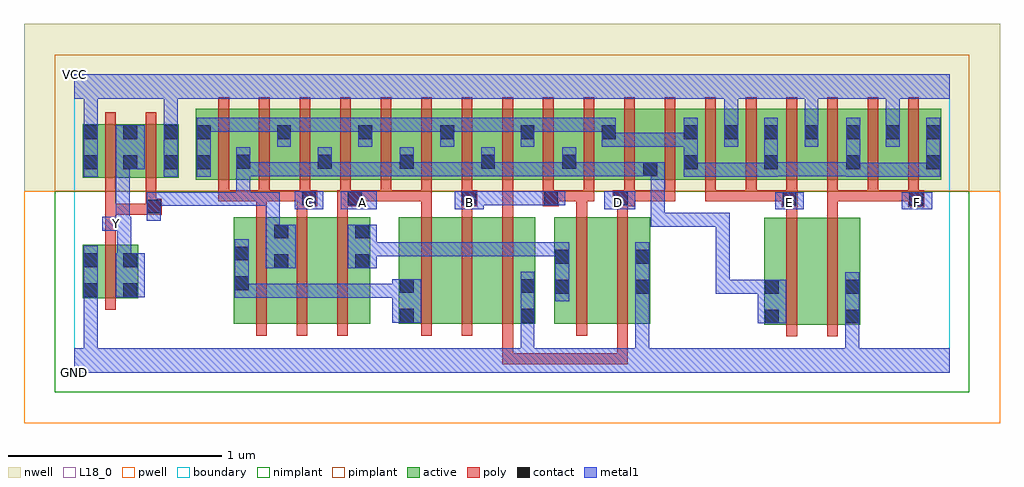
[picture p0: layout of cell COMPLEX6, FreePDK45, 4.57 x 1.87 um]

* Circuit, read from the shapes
.subckt COMPLEX6 A B C D E F GND VCC Y
M1 Y n1 GND VSUBS nfet w=0.25u l=0.05u
M2 n1 C n2 VSUBS nfet w=0.5u l=0.05u
M3 n3 C n1 VSUBS nfet w=0.5u l=0.05u
M4 n4 A n3 VSUBS nfet w=0.5u l=0.05u
M5 n5 A n2 VSUBS nfet w=0.5u l=0.05u
M6 n6 B n5 VSUBS nfet w=0.5u l=0.05u
M7 GND D n6 VSUBS nfet w=0.5u l=0.05u
M8 n7 B n4 VSUBS nfet w=0.5u l=0.05u
M9 GND D n7 VSUBS nfet w=0.5u l=0.05u
M10 n8 E n1 VSUBS nfet w=0.5u l=0.05u
M11 GND F n8 VSUBS nfet w=0.5u l=0.05u
M12 Y n1 VCC n9 pfet w=0.25u l=0.05u m=2
M13 n1 C n10 n9 pfet w=0.332u l=0.05u m=3
M14 n10 A n1 n9 pfet w=0.332u l=0.05u m=3
M15 n1 B n10 n9 pfet w=0.332u l=0.05u m=3
M16 n10 D n1 n9 pfet w=0.332u l=0.05u m=3
M17 VCC E n10 n9 pfet w=0.332u l=0.05u m=3
M18 n10 F VCC n9 pfet w=0.332u l=0.05u m=3
.ends

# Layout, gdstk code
import gdstk
lib = gdstk.Library(unit=1e-6, precision=1e-09)
def R(c, l, rs):  # rectangles x0, y0, x1, y1
    for r in rs: c.add(gdstk.rectangle(r[:2], r[2:], *l))
def A(c, l, x, y, w, h, nx, ny, dx, dy):  # array of equal rectangles
    R(c, l, [(x+i*dx, y+j*dy, x+i*dx+w, y+j*dy+h) for i in range(nx) for j in range(ny)])
active = (1, 0)
pwell = (2, 0)
nwell = (3, 0)
nimplant = (4, 0)
pimplant = (5, 0)
poly = (9, 0)
contact = (10, 0)
metal1 = (11, 0)
L18_0 = (18, 0)
boundary = (235, 0)

complex6 = lib.new_cell('COMPLEX6')
A(complex6, active, 0.755, 0.905, 0.265, 0.332, 3, 1, 0.19, 0)
A(complex6, active, 1.52, 0.905, 0.075, 0.165, 4, 1, 0.38, 0)
R(complex6, active, [(3.23,0.227,3.305,0.727), (3.23,0.227,3.455,0.727), (3.455,0.227,3.68,0.727), (3.605,0.227,3.68,0.727), (0.747,0.23,1.007,0.73), (0.932,0.23,1.162,0.73), (1.162,0.23,1.387,0.73), (1.52,0.23,1.595,0.73), (1.52,0.23,1.745,0.73), (1.745,0.23,1.935,0.73), (1.935,0.23,2.16,0.73), (2.085,0.23,2.16,0.637), (2.247,0.23,2.472,0.73), (2.472,0.23,2.697,0.73), (2.622,0.23,2.697,0.73), (0.747,0.295,0.822,0.73), (0.932,0.295,1.007,0.73), (1.312,0.295,1.387,0.73), (2.247,0.295,2.322,0.73), (0.04,0.35,0.115,0.6), (0.04,0.35,0.3,0.6), (0.225,0.35,0.3,0.6), (0.57,0.905,0.645,1.2), (0.57,0.905,0.83,1.237), (0.755,0.905,0.83,1.07), (0.945,0.905,1.02,1.2), (1.135,0.905,1.21,1.07), (1.325,0.905,1.4,1.2), (1.325,0.905,1.595,1.237), (1.52,0.905,1.785,1.237), (1.71,0.905,1.785,1.2), (1.71,0.905,1.975,1.237), (1.9,0.905,2.16,1.237), (2.085,0.905,2.16,1.2), (2.085,0.905,2.355,1.237), (2.28,0.905,2.54,1.237), (2.465,0.905,2.735,1.237), (2.66,0.905,2.925,1.237), (2.85,0.905,2.925,1.2), (2.85,0.905,3.115,1.237), (3.04,0.905,3.115,1.237), (3.04,0.905,3.3,1.237), (3.225,0.905,3.3,1.2), (3.225,0.905,3.49,1.237), (3.415,0.905,3.49,1.237), (3.415,0.905,3.685,1.237), (3.61,0.905,3.685,1.2), (3.61,0.905,3.87,1.237), (3.795,0.905,4.06,1.237), (3.795,0.905,3.87,1.237), (3.985,0.905,4.06,1.2), (0.04,0.915,0.115,1.165), (0.04,0.915,0.3,1.165), (0.225,0.915,0.3,1.165), (0.225,0.915,0.49,1.165), (0.415,0.915,0.49,1.165), (2.465,0.947,2.54,1.2)])
R(complex6, pwell, [(-0.235,-0.235,4.335,0.85)])
R(complex6, nwell, [(-0.235,0.85,4.335,1.635)])
R(complex6, nimplant, [(-0.09,-0.09,4.19,0.85)])
R(complex6, pimplant, [(-0.09,0.85,4.19,1.49)])
A(complex6, poly, 0.852, 0.175, 0.05, 0.61, 3, 1, 0.19, 0)
A(complex6, poly, 1.625, 0.175, 0.05, 0.61, 3, 1, 0.19, 0)
A(complex6, poly, 0.675, 0.805, 0.05, 0.095, 18, 1, 0.19, 0)
A(complex6, poly, 3.525, 0.805, 0.05, 0.05, 3, 1, 0.19, 0)
A(complex6, poly, 0.675, 0.85, 0.05, 0.442, 18, 1, 0.19, 0)
R(complex6, poly, [(2.005,0.042,2.055,0.092), (2.005,0.042,2.055,0.092), (2.005,0.042,2.055,0.092), (2.005,0.042,2.055,0.225), (2.005,0.042,2.27,0.092), (2.22,0.042,2.27,0.092), (2.22,0.042,2.27,0.092), (2.22,0.042,2.27,0.092), (2.22,0.042,2.402,0.092), (2.352,0.042,2.402,0.092), (2.352,0.042,2.402,0.092), (2.352,0.042,2.402,0.092), (2.352,0.042,2.592,0.092), (2.542,0.042,2.592,0.092), (2.542,0.042,2.592,0.225), (3.335,0.172,3.385,0.782), (3.525,0.172,3.575,0.782), (2.352,0.175,2.402,0.785), (2.542,0.175,2.592,0.785), (0.145,0.295,0.195,0.655), (0.145,0.605,0.195,0.792), (3.335,0.732,3.385,0.827), (3.525,0.732,3.575,0.855), (0.852,0.735,0.902,0.855), (1.042,0.735,1.092,0.83), (1.232,0.735,1.282,0.83), (1.625,0.735,1.675,0.855), (1.815,0.735,1.865,0.83), (2.005,0.735,2.055,0.855), (2.352,0.735,2.402,0.855), (2.542,0.735,2.592,0.83), (0.145,0.742,0.195,0.792), (0.145,0.742,0.195,0.792), (0.145,0.742,0.195,0.792), (0.145,0.742,0.385,0.792), (0.145,0.742,0.195,0.91), (0.335,0.742,0.41,0.817), (0.335,0.767,0.385,0.91), (3.312,0.777,3.387,0.855), (3.905,0.777,3.98,0.855), (1.042,0.78,1.137,0.855), (1.232,0.78,1.352,0.855), (1.812,0.78,1.887,0.855), (2.195,0.78,2.27,0.855), (2.522,0.78,2.625,0.855), (0.675,0.805,0.725,0.855), (0.675,0.805,0.902,0.855), (0.852,0.805,0.902,0.855), (0.852,0.805,0.902,0.855), (0.852,0.805,0.915,0.855), (0.865,0.805,1.092,0.855), (1.042,0.805,1.092,0.855), (1.042,0.805,1.092,0.855), (1.302,0.805,1.485,0.855), (1.435,0.805,1.485,0.855), (1.435,0.805,1.485,0.855), (1.435,0.805,1.485,0.855), (1.435,0.805,1.675,0.855), (1.625,0.805,1.675,0.855), (1.625,0.805,1.675,0.855), (1.625,0.805,1.675,0.855), (2.005,0.805,2.055,0.855), (2.22,0.805,2.27,0.855), (2.22,0.805,2.27,0.855), (2.22,0.805,2.402,0.855), (2.352,0.805,2.435,0.855), (2.575,0.805,2.815,0.855), (2.765,0.805,2.815,0.855), (2.765,0.805,2.815,0.855), (2.765,0.805,2.815,0.855), (2.955,0.805,3.005,0.855), (2.955,0.805,3.005,0.855), (2.955,0.805,3.005,0.855), (2.955,0.805,3.195,0.855), (3.145,0.805,3.195,0.855), (3.145,0.805,3.195,0.855), (3.145,0.805,3.195,0.855), (3.145,0.805,3.362,0.855), (3.525,0.805,3.575,0.855), (3.525,0.805,3.575,0.855), (3.525,0.805,3.765,0.855), (3.715,0.805,3.955,0.855), (3.905,0.805,3.955,0.855), (0.145,0.86,0.195,1.22), (0.335,0.86,0.385,1.22)])
A(complex6, contact, 1.525, 0.957, 0.065, 0.065, 3, 1, 0.38, 0)
R(complex6, contact, [(3.235,0.232,3.3,0.297), (3.61,0.232,3.675,0.297), (1.525,0.235,1.59,0.3), (2.09,0.235,2.155,0.3), (0.045,0.355,0.11,0.42), (0.23,0.355,0.295,0.42), (2.252,0.372,2.317,0.437), (2.627,0.372,2.692,0.437), (3.235,0.372,3.3,0.437), (3.61,0.372,3.675,0.437), (1.525,0.375,1.59,0.44), (2.09,0.375,2.155,0.44), (0.752,0.387,0.817,0.452), (0.937,0.49,1.002,0.555), (1.317,0.49,1.382,0.555), (0.045,0.495,0.11,0.56), (0.23,0.495,0.295,0.56), (2.252,0.512,2.317,0.577), (2.627,0.512,2.692,0.577), (0.752,0.527,0.817,0.592), (0.937,0.63,1.002,0.695), (1.317,0.63,1.382,0.695), (0.34,0.747,0.405,0.812), (3.317,0.782,3.382,0.847), (3.91,0.782,3.975,0.847), (1.067,0.785,1.132,0.85), (1.282,0.785,1.347,0.85), (1.817,0.785,1.882,0.85), (2.2,0.785,2.265,0.85), (2.527,0.785,2.592,0.85), (2.665,0.922,2.73,0.987), (0.045,0.955,0.11,1.02), (0.23,0.955,0.295,1.02), (0.42,0.955,0.485,1.02), (0.575,0.955,0.64,1.02), (2.855,0.955,2.92,1.02), (3.23,0.955,3.295,1.02), (3.615,0.955,3.68,1.02), (3.99,0.955,4.055,1.02), (0.76,0.957,0.825,1.022), (1.14,0.957,1.205,1.022), (0.045,1.095,0.11,1.16), (0.23,1.095,0.295,1.16), (0.42,1.095,0.485,1.16), (0.575,1.095,0.64,1.16), (0.95,1.095,1.015,1.16), (1.33,1.095,1.395,1.16), (1.715,1.095,1.78,1.16), (2.09,1.095,2.155,1.16), (2.47,1.095,2.535,1.16), (2.855,1.095,2.92,1.16), (3.045,1.095,3.11,1.16), (3.23,1.095,3.295,1.16), (3.42,1.095,3.485,1.16), (3.615,1.095,3.68,1.16), (3.8,1.095,3.865,1.16), (3.99,1.095,4.055,1.16)])
A(complex6, metal1, 1.525, 0.922, 0.065, 0.135, 3, 1, 0.38, 0)
R(complex6, metal1, [(0,0,4.1,0.115), (0.045,0.05,0.11,0.115), (0.045,0.05,0.11,0.115), (0.045,0.05,0.11,0.115), (0.045,0.05,0.11,0.115), (0.045,0.05,0.11,0.115), (0.045,0.05,0.11,0.115), (0.045,0.05,0.11,0.115), (0.045,0.05,0.11,0.115), (0.045,0.05,0.11,0.385), (2.09,0.05,2.155,0.115), (2.09,0.05,2.155,0.115), (2.09,0.05,2.155,0.265), (2.627,0.05,2.692,0.115), (2.627,0.05,2.692,0.115), (2.627,0.05,2.692,0.402), (3.61,0.05,3.675,0.115), (3.61,0.05,3.675,0.115), (3.61,0.05,3.675,0.262), (3.61,0.197,3.675,0.262), (3.61,0.197,3.675,0.262), (3.61,0.197,3.675,0.472), (2.09,0.2,2.155,0.265), (2.09,0.2,2.155,0.265), (2.09,0.2,2.155,0.475), (3.2,0.232,3.335,0.437), (1.49,0.235,1.625,0.44), (0.045,0.32,0.11,0.595), (2.252,0.337,2.317,0.612), (2.627,0.337,2.692,0.402), (2.627,0.337,2.692,0.402), (2.627,0.337,2.692,0.612), (0.752,0.352,0.817,0.417), (0.752,0.352,0.817,0.417), (0.752,0.352,0.817,0.627), (0.752,0.352,1.037,0.417), (0.972,0.352,1.037,0.417), (0.972,0.352,1.037,0.417), (0.972,0.352,1.037,0.417), (0.972,0.352,1.205,0.417), (1.14,0.352,1.205,0.417), (1.14,0.352,1.205,0.417), (1.14,0.352,1.205,0.417), (1.14,0.352,1.342,0.417), (1.277,0.352,1.342,0.417), (1.277,0.352,1.342,0.417), (1.277,0.352,1.342,0.417), (1.277,0.352,1.555,0.417), (0.195,0.355,0.33,0.56), (3.005,0.372,3.07,0.437), (3.005,0.372,3.21,0.437), (3.005,0.372,3.07,0.75), (3.145,0.372,3.21,0.437), (3.145,0.372,3.265,0.437), (0.897,0.49,1.037,0.695), (1.282,0.49,1.417,0.695), (0.202,0.495,0.267,0.732), (1.352,0.547,1.417,0.612), (1.352,0.547,1.417,0.612), (1.352,0.547,1.555,0.612), (1.49,0.547,1.555,0.612), (1.49,0.547,1.555,0.612), (1.49,0.547,1.555,0.612), (1.49,0.547,1.727,0.612), (1.662,0.547,1.727,0.612), (1.662,0.547,1.727,0.612), (1.662,0.547,1.727,0.612), (1.662,0.547,1.97,0.612), (1.905,0.547,1.97,0.612), (1.905,0.547,2.055,0.612), (1.99,0.547,2.055,0.612), (1.99,0.547,2.18,0.612), (2.115,0.547,2.18,0.612), (2.115,0.547,2.212,0.612), (2.147,0.547,2.212,0.612), (2.147,0.547,2.317,0.612), (0.897,0.63,0.962,0.847), (0.132,0.667,0.267,0.732), (0.195,0.667,0.26,1.02), (2.7,0.685,2.765,0.75), (2.7,0.685,2.902,0.75), (2.7,0.685,2.765,0.987), (2.837,0.685,2.902,0.75), (2.837,0.685,2.902,0.75), (2.837,0.685,2.902,0.75), (2.837,0.685,3.07,0.75), (3.005,0.685,3.07,0.75), (3.005,0.685,3.07,0.75), (3.005,0.685,3.07,0.75), (0.34,0.712,0.405,0.847), (1.032,0.767,1.167,0.85), (1.247,0.767,1.417,0.85), (1.782,0.767,1.917,0.85), (2.482,0.767,2.627,0.85), (3.282,0.767,3.417,0.847), (3.875,0.767,4.017,0.847), (0.34,0.782,0.405,0.847), (0.34,0.782,0.405,0.847), (0.34,0.782,0.622,0.847), (0.557,0.782,0.622,0.847), (0.557,0.782,0.622,0.847), (0.557,0.782,0.622,0.847), (0.557,0.782,0.825,0.847), (0.76,0.782,0.825,0.847), (0.76,0.782,0.825,0.847), (0.76,0.782,0.825,0.847), (0.76,0.782,0.962,0.847), (0.76,0.782,0.825,0.987), (0.897,0.782,0.962,0.847), (1.852,0.785,1.917,0.85), (1.852,0.785,1.917,0.85), (1.852,0.785,2.075,0.85), (2.01,0.785,2.075,0.85), (2.01,0.785,2.107,0.85), (2.042,0.785,2.107,0.85), (2.042,0.785,2.23,0.85), (2.165,0.785,2.3,0.85), (0.045,0.92,0.11,1.195), (0.42,0.92,0.485,1.195), (0.575,0.92,0.64,1.195), (2.855,0.92,2.92,0.985), (2.855,0.92,2.92,0.985), (2.855,0.92,2.92,1.195), (2.855,0.92,3.072,0.985), (3.007,0.92,3.072,0.985), (3.007,0.92,3.072,0.985), (3.007,0.92,3.072,0.985), (3.007,0.92,3.21,0.985), (3.145,0.92,3.21,0.985), (3.145,0.92,3.295,0.985), (3.23,0.92,3.295,1.195), (3.615,0.92,3.68,0.985), (3.615,0.92,3.68,0.985), (3.615,0.92,3.68,1.195), (3.615,0.92,3.817,0.985), (3.752,0.92,3.817,0.985), (3.752,0.92,4.055,0.985), (3.99,0.92,4.055,0.985), (3.99,0.92,4.055,0.985), (3.99,0.92,4.055,1.195), (0.76,0.922,0.825,0.987), (0.76,0.922,0.825,0.987), (0.76,0.922,0.825,1.057), (0.76,0.922,1.037,0.987), (0.972,0.922,1.037,0.987), (0.972,0.922,1.037,0.987), (0.972,0.922,1.037,0.987), (0.972,0.922,1.205,0.987), (1.14,0.922,1.205,0.987), (1.14,0.922,1.205,0.987), (1.14,0.922,1.205,1.057), (1.14,0.922,1.417,0.987), (1.352,0.922,1.417,0.987), (1.352,0.922,1.417,0.987), (1.352,0.922,1.417,0.987), (1.352,0.922,1.59,0.987), (1.525,0.922,1.59,0.987), (1.525,0.922,1.59,0.987), (1.525,0.922,1.747,0.987), (1.682,0.922,1.747,0.987), (1.682,0.922,1.747,0.987), (1.682,0.922,1.747,0.987), (1.682,0.922,1.97,0.987), (1.905,0.922,2.055,0.987), (1.99,0.922,2.055,0.987), (1.99,0.922,2.18,0.987), (2.115,0.922,2.18,0.987), (2.115,0.922,2.212,0.987), (2.147,0.922,2.212,0.987), (2.147,0.922,2.35,0.987), (2.285,0.922,2.35,0.987), (2.285,0.922,2.35,0.987), (2.285,0.922,2.487,0.987), (2.422,0.922,2.487,0.987), (2.422,0.922,2.695,0.987), (2.63,0.922,2.695,0.987), (2.63,0.922,2.695,0.987), (2.63,0.922,2.765,0.987), (3.23,0.922,3.347,0.987), (3.282,0.922,3.347,0.987), (3.282,0.922,3.537,0.987), (3.472,0.922,3.537,0.987), (3.472,0.922,3.537,0.987), (3.472,0.922,3.537,0.987), (3.472,0.922,3.68,0.987), (0.195,0.955,0.33,1.16), (0.95,1.06,1.015,1.195), (1.33,1.06,1.395,1.195), (1.715,1.06,1.78,1.195), (2.09,1.06,2.155,1.195), (2.47,1.06,2.535,1.195), (2.47,1.06,2.765,1.125), (2.7,1.06,2.765,1.125), (2.7,1.06,2.765,1.125), (2.7,1.06,2.765,1.125), (2.7,1.06,2.92,1.125), (2.855,1.06,2.92,1.125), (2.855,1.06,2.92,1.125), (3.045,1.06,3.11,1.195), (3.42,1.06,3.485,1.195), (3.8,1.06,3.865,1.195), (0.045,1.13,0.11,1.195), (0.045,1.13,0.11,1.195), (0.045,1.13,0.11,1.35), (0.42,1.13,0.485,1.195), (0.42,1.13,0.485,1.195), (0.42,1.13,0.485,1.35), (0.575,1.13,0.64,1.195), (0.575,1.13,0.64,1.195), (0.575,1.13,0.777,1.195), (0.712,1.13,0.777,1.195), (0.712,1.13,0.777,1.195), (0.712,1.13,0.777,1.195), (0.712,1.13,1.015,1.195), (0.95,1.13,1.015,1.195), (0.95,1.13,1.015,1.195), (0.95,1.13,1.175,1.195), (1.11,1.13,1.175,1.195), (1.11,1.13,1.175,1.195), (1.11,1.13,1.175,1.195), (1.11,1.13,1.395,1.195), (1.33,1.13,1.395,1.195), (1.33,1.13,1.395,1.195), (1.33,1.13,1.555,1.195), (1.49,1.13,1.555,1.195), (1.49,1.13,1.555,1.195), (1.49,1.13,1.555,1.195), (1.49,1.13,1.78,1.195), (1.715,1.13,1.78,1.195), (1.715,1.13,1.78,1.195), (1.715,1.13,1.917,1.195), (1.852,1.13,1.917,1.195), (1.852,1.13,2.055,1.195), (1.99,1.13,2.055,1.195), (1.99,1.13,2.155,1.195), (2.09,1.13,2.212,1.195), (2.147,1.13,2.212,1.195), (2.147,1.13,2.35,1.195), (2.285,1.13,2.35,1.195), (2.285,1.13,2.35,1.195), (2.285,1.13,2.35,1.195), (2.285,1.13,2.535,1.195), (3.045,1.13,3.11,1.35), (3.42,1.13,3.485,1.35), (3.8,1.13,3.865,1.35), (0,1.285,4.1,1.4)])
R(complex6, L18_0, [(0,0,4.1,0.115), (0.045,0.05,0.11,0.115), (0.045,0.05,0.11,0.115), (0.045,0.05,0.11,0.115), (0.045,0.05,0.11,0.115), (0.045,0.05,0.11,0.115), (0.045,0.05,0.11,0.115), (0.045,0.05,0.11,0.115), (0.045,0.05,0.11,0.115), (0.045,0.05,0.11,0.385), (2.09,0.05,2.155,0.115), (2.09,0.05,2.155,0.115), (2.09,0.05,2.155,0.265), (2.627,0.05,2.692,0.115), (2.627,0.05,2.692,0.115), (2.627,0.05,2.692,0.402), (3.61,0.05,3.675,0.115), (3.61,0.05,3.675,0.115), (3.61,0.05,3.675,0.262), (3.61,0.197,3.675,0.262), (3.61,0.197,3.675,0.262), (3.61,0.197,3.675,0.472), (2.09,0.2,2.155,0.265), (2.09,0.2,2.155,0.265), (2.09,0.2,2.155,0.475), (0.045,0.32,0.11,0.595), (2.627,0.337,2.692,0.402), (2.627,0.337,2.692,0.402), (2.627,0.337,2.692,0.612), (0.195,0.355,0.33,0.56), (0.202,0.495,0.267,0.732), (0.132,0.667,0.267,0.732), (0.167,0.667,0.232,0.732), (0.195,0.667,0.26,1.02), (1.032,0.767,1.167,0.85), (1.067,0.767,1.132,0.832), (1.247,0.767,1.417,0.85), (1.317,0.767,1.382,0.832), (1.782,0.767,1.917,0.85), (1.817,0.767,1.882,0.832), (2.482,0.767,2.627,0.85), (2.517,0.767,2.582,0.832), (3.282,0.767,3.417,0.847), (3.317,0.767,3.382,0.832), (3.875,0.767,4.017,0.847), (3.917,0.767,3.982,0.832), (1.852,0.785,1.917,0.85), (1.852,0.785,1.917,0.85), (1.852,0.785,2.075,0.85), (2.01,0.785,2.075,0.85), (2.01,0.785,2.107,0.85), (2.042,0.785,2.107,0.85), (2.042,0.785,2.23,0.85), (2.165,0.785,2.3,0.85), (0.045,0.92,0.11,1.195), (0.42,0.92,0.485,1.195), (0.195,0.955,0.33,1.16), (3.045,1.06,3.11,1.195), (3.42,1.06,3.485,1.195), (3.8,1.06,3.865,1.195), (0.045,1.13,0.11,1.195), (0.045,1.13,0.11,1.195), (0.045,1.13,0.11,1.35), (0.42,1.13,0.485,1.195), (0.42,1.13,0.485,1.195), (0.42,1.13,0.485,1.35), (3.045,1.13,3.11,1.35), (3.42,1.13,3.485,1.35), (3.8,1.13,3.865,1.35), (0,1.285,4.1,1.4)])
R(complex6, boundary, [(0,0,4.1,1.4)])
complex6.add(gdstk.Label('A', (1.35,0.8), layer=11, texttype=0))
complex6.add(gdstk.Label('B', (1.85,0.8), layer=11, texttype=0))
complex6.add(gdstk.Label('C', (1.1,0.8), layer=11, texttype=0))
complex6.add(gdstk.Label('D', (2.55,0.8), layer=11, texttype=0))
complex6.add(gdstk.Label('E', (3.35,0.8), layer=11, texttype=0))
complex6.add(gdstk.Label('F', (3.95,0.8), layer=11, texttype=0))
complex6.add(gdstk.Label('Y', (0.2,0.7), layer=11, texttype=0))
complex6.add(gdstk.Label('VCC', (0,1.4), layer=11, texttype=0))
complex6.add(gdstk.Label('GND', (0,0), layer=11, texttype=0))

lib.write_gds('COMPLEX6.gds')
